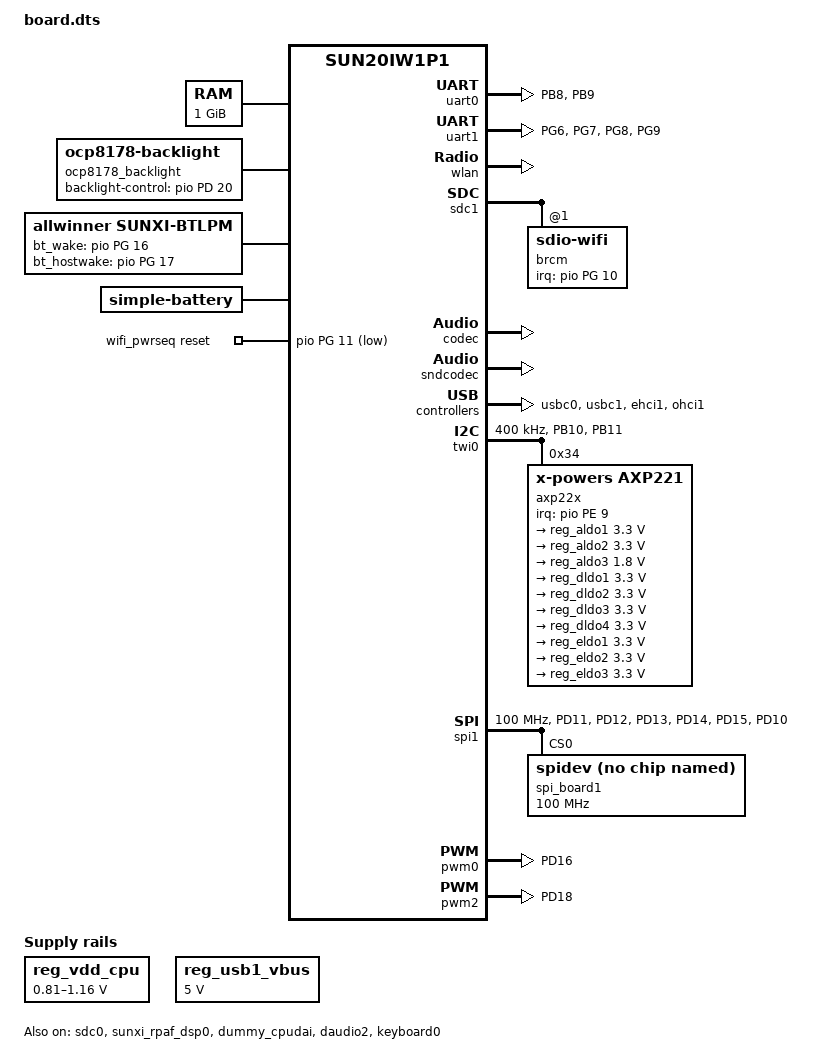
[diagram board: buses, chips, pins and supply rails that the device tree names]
/*
 * Allwinner Technology CO., Ltd. sun20iw1p1 fpga.
 *
 * fpga support.
 */

/dts-v1/;

#include "sun20iw1p1.dtsi"

/{
	compatible = "allwinner,d1", "arm,sun20iw1p1", "allwinner,sun20iw1p1";

	memory@40000000 {
		device_type = "memory";
		reg = <0x0 0x40000000 0x0 0x40000000>; /* 1 GB */
	};

	aliases {
		dsp0 = &dsp0;
		dsp0_gpio_int= &dsp0_gpio_int;
	};

	dsp0: dsp0 {
		compatible = "allwinner,sun20iw1-dsp";
		status = "okay";
	};

	dsp0_gpio_int: dsp0_gpio_int {
		compatible = "allwinner,sun20iw1-dsp-gpio-int";
		pin-group = "PB", "PC", "PD", "PE";
		status = "disabled";
	};

	reg_vdd_cpu: vdd-cpu {
		compatible = "sunxi-pwm-regulator";
		pwms = <&pwm 0 5000 0>;
		regulator-name = "vdd_cpu";
		regulator-min-microvolt = <810000>;
		regulator-max-microvolt = <1160000>;
		regulator-ramp-delay = <25>;
		regulator-always-on;
		regulator-boot-on;
		status = "okay";
	};

	reg_usb1_vbus: usb1-vbus {
		compatible = "regulator-fixed";
		regulator-name = "usb1-vbus";
		regulator-min-microvolt = <5000000>;
		regulator-max-microvolt = <5000000>;
		regulator-enable-ramp-delay = <1000>;
		/*gpio = <&pio PD 19 GPIO_ACTIVE_HIGH>;*/
		enable-active-high;
	};

	ocp8178_backlight: backlight@0 {
			compatible = "ocp8178-backlight";
			backlight-control-gpios = <&pio PD 20  GPIO_ACTIVE_HIGH>;
			default-brightness = <5>;
//			pinctrl-names = "default";
//			pinctrl-0 = <&backlight_control>;
	};
};

&CPU0 {
	cpu-supply = <&reg_vdd_cpu>;
};

&pio {
	sdc0_pins_a: sdc0@0 {
		allwinner,pins = "PF0", "PF1", "PF2",
				 "PF3", "PF4", "PF5";
		allwinner,function = "sdc0";
		allwinner,muxsel = <2>;
		allwinner,drive = <3>;
		allwinner,pull = <1>;
		pins = "PF0", "PF1", "PF2",
		       "PF3", "PF4", "PF5";
		function = "sdc0";
		drive-strength = <30>;
		bias-pull-up;
		power-source = <3300>;
	};


	sdc0_pins_b: sdc0@1 {
		pins = "PF0", "PF1", "PF2",
		       "PF3", "PF4", "PF5";
		function = "sdc0";
		drive-strength = <30>;
		bias-pull-up;
		power-source = <1800>;
	};

	sdc0_pins_c: sdc0@2 {
		pins = "PF0", "PF1", "PF2",
			"PF3", "PF4", "PF5";
		function = "gpio_in";
	};

	/* TODO: add jtag pin */
	sdc0_pins_d: sdc0@3 {
		pins = "PF2", "PF4";
		function = "uart0";
		drive-strength = <10>;
		bias-pull-up;
	};

	sdc0_pins_e: sdc0@4 {
		pins = "PF0", "PF1", "PF3",
			"PF5";
		function = "jtag";
		drive-strength = <10>;
		bias-pull-up;
	};


	sdc1_pins_a: sdc1@0 {
		pins = "PG0", "PG1", "PG2",
		       "PG3", "PG4", "PG5";
		function = "sdc1";
		drive-strength = <30>;
		bias-pull-up;
	};

	sdc1_pins_b: sdc1@1 {
		pins = "PG0", "PG1", "PG2",
		       "PG3", "PG4", "PG5";
			function = "gpio_in";
	};

	sdc2_pins_a: sdc2@0 {
		allwinner,pins = "PC2", "PC3", "PC4",
				 "PC5", "PC6", "PC7";
		allwinner,function = "sdc2";
		allwinner,muxsel = <3>;
		allwinner,drive = <3>;
		allwinner,pull = <1>;
		pins = "PC2", "PC3", "PC4",
			"PC5", "PC6", "PC7";
		function = "sdc2";
		drive-strength = <30>;
		bias-pull-up;
	};

	sdc2_pins_b: sdc2@1 {
		pins = "PC2", "PC3", "PC4",
		       "PC5", "PC6", "PC7";
		function = "gpio_in";
	};
	/*
	wlan_pins_a:wlan@0 {
		pins = "PG11";
		function = "clk_fanout1";
	};*/

	uart0_pins_a: uart0_pins@0 {  /* For nezha board */
		pins = "PB8", "PB9";
		function = "uart0";
		drive-strength = <10>;
		bias-pull-up;
	};

	uart0_pins_b: uart0_pins@1 {  /* For nezha board */
		pins = "PB8", "PB9";
		function = "gpio_in";
	};

	uart1_pins_a: uart1_pins@0 {  /* For EVB1 board */
		pins = "PG6", "PG7", "PG8", "PG9";
		function = "uart1";
		drive-strength = <10>;
		bias-pull-up;
	};

	uart1_pins_b: uart1_pins {  /* For EVB1 board */
		pins = "PG6", "PG7", "PG8", "PG9";
		function = "gpio_in";
	};

	uart2_pins_a: uart2_pins@0 {  /* For EVB1 board */
		pins = "PC0", "PC1";
		function = "uart2";
		drive-strength = <10>;
		bias-pull-up;
	};

	uart2_pins_b: uart2_pins@1 {  /* For EVB1 board */
		pins = "PC0", "PC1";
		function = "gpio_in";
	};

	uart3_pins_a: uart3_pins@0 {  /* For EVB1 board */
		pins = "PD10", "PD11";
		function = "uart3";
		muxsel = <5>;
		drive-strength = <10>;
		bias-pull-up;
	};

	twi0_pins_a: twi0@0 {
		pins = "PB10", "PB11";	/*sck sda*/
		function = "twi0";
		drive-strength = <10>;
	};

	twi0_pins_b: twi0@1 {
		pins = "PB10", "PB11";
		function = "gpio_in";
	};

	twi1_pins_a: twi1@0 {
		pins = "PB4", "PB5";
		function = "twi1";
		drive-strength = <10>;
	};

	twi1_pins_b: twi1@1 {
		pins = "PB4", "PB5";
		function = "gpio_in";
	};

	twi2_pins_a: twi2@0 {
		pins = "PB0", "PB1";
		function = "twi2";
		drive-strength = <10>;
	};

	twi2_pins_b: twi2@1 {
		pins = "PB0", "PB1";
		function = "gpio_in";
	};

	twi3_pins_a: twi3@0 {
		pins = "PB6", "PB7";
		function = "twi3";
		drive-strength = <10>;
	};

	twi3_pins_b: twi3@1 {
		pins = "PB6", "PB7";
		function = "gpio_in";
	};

	gmac_pins_a: gmac@0 {
		pins = "PE0", "PE1", "PE2", "PE3",
		       "PE4", "PE5", "PE6", "PE7",
		       "PE8", "PE9", "PE10", "PE11",
		       "PE12", "PE13", "PE14", "PE15";
		function = "gmac0";
		drive-strength = <10>;
	};

	gmac_pins_b: gmac@1 {
		pins = "PE0", "PE1", "PE2", "PE3",
		       "PE4", "PE5", "PE6", "PE7",
		       "PE8", "PE9", "PE10", "PE11",
		       "PE12", "PE13", "PE14", "PE15";
		function = "gpio_in";
	};

	dmic_pins_a: dmic@0 {
		/* DMIC_PIN: CLK, DATA0, DATA1, DATA2 */
		pins = "PE17", "PB11", "PB10", "PD17";
		function = "dmic";
		drive-strength = <20>;
		bias-disable;
	};

	dmic_pins_b: dmic@1 {
		pins = "PE17", "PB11", "PB10", "PD17";
		function = "io_disabled";
		drive-strength = <20>;
		bias-disable;
	};

	daudio0_pins_a: daudio0@0 {
		pins = "PE17", "PE16", "PE15", "PE14", "PE13";
		function = "i2s0";
		drive-strength = <20>;
		bias-disable;
	};

	daudio0_pins_b: daudio0_sleep@0 {
		pins = "PE17", "PE16", "PE15", "PE14", "PE13";
		function = "io_disabled";
		drive-strength = <20>;
		bias-disable;
	};

	daudio1_pins_a: daudio1@0 {
		pins = "PG11", "PG12", "PG13", "PG14", "PG15";
		function = "i2s1";
		drive-strength = <20>;
		bias-disable;
	};

	daudio1_pins_b: daudio1_sleep@0 {
		pins = "PG11", "PG12", "PG13", "PG14", "PG15";
		function = "io_disabled";
		drive-strength = <20>;
		bias-disable;
	};

	daudio2_pins_a: daudio2@0 {
		/* I2S_PIN: MCLK, BCLK, LRCK */
		pins = "PB7", "PB5", "PB6";
		function = "i2s2";
		drive-strength = <20>;
		bias-disable;
	};

	daudio2_pins_b: daudio2@1 {
		/* I2S_PIN: DOUT0 */
		pins = "PB4";
		function = "i2s2_dout";
		drive-strength = <20>;
		bias-disable;
	};

	daudio2_pins_c: daudio2@2 {
		/* I2S_PIN: DIN0 */
		pins = "PB3";
		function = "i2s2_din";
		drive-strength = <20>;
		bias-disable;
	};

	daudio2_pins_d: daudio2_sleep@0 {
		pins = "PB7", "PB5", "PB6", "PB4", "PB3";
		function = "io_disabled";
		drive-strength = <20>;
		bias-disable;
	};

	spdif_pins_a: spdif@0 {
		/* SPDIF_PIN: SPDIF_OUT */
		pins = "PB0";
		function = "spdif";
		drive-strength = <20>;
		bias-disable;
	};

	spdif_pins_b: spdif_sleep@0 {
		pins = "PB0";
		function = "io_disabled";
		drive-strength = <20>;
		bias-disable;
	};

	spi0_pins_a: spi0@0 {
		pins = "PC2", "PC4", "PC5","PC7", "PC6"; /*clk mosi miso hold wp*/
		function = "spi0";
		muxsel = <2>;
		drive-strength = <10>;
	};

	spi0_pins_b: spi0@1 {
		pins = "PC3", "PC7", "PC6";
		function = "spi0";
		muxsel = <2>;
		drive-strength = <10>;
		bias-pull-up;   /* only CS should be pulled up */
	};

	spi0_pins_c: spi0@2 {
		pins = "PC2", "PC3", "PC4", "PC5","PC6", "PC7";
		function = "gpio_in";
		muxsel = <0>;
		drive-strength = <10>;
	};

	spi1_pins_a: spi1@0 {
		pins = "PD11", "PD12", "PD13","PD14", "PD15"; /*clk mosi miso hold wp*/
		function = "spi1";
		drive-strength = <10>;
	};

	spi1_pins_b: spi1@1 {
		pins = "PD10";
		function = "spi1";
		drive-strength = <10>;
		bias-pull-up;   // only CS should be pulled up
	};

	spi1_pins_c: spi1@2 {
		pins = "PD10", "PD11", "PD12", "PD13","PD14", "PD15";
		function = "gpio_in";
		drive-strength = <10>;
	};

	ledc_pins_a: ledc@0 {
		pins = "PC0";
		function = "ledc";
		drive-strength = <10>;
	};

	ledc_pins_b: ledc@1 {
		pins = "PC0";
		function = "gpio_in";
	};

	pwm0_pin_a: pwm0@0 {
		pins = "PD16";
		function = "pwm0";
		drive-strength = <10>;
		bias-pull-up;
	};

	pwm0_pin_b: pwm0@1 {
		pins = "PD16";
		function = "gpio_in";
		bias-disable;
	};

	pwm2_pin_a: pwm2@0 {
		pins = "PD18";
		function = "pwm2";
		drive-strength = <10>;
		bias-pull-up;
	};

	pwm2_pin_b: pwm2@1 {
		pins = "PD18";
		function = "gpio_in";
	};

/*
	pwm7_pin_a: pwm7@0 {
		pins = "PD22";
		function = "pwm7";
		drive-strength = <10>;
		bias-pull-up;
	};

	pwm7_pin_b: pwm7@1 {
		pins = "PD22";
		function = "gpio_in";
	};
*/

	s_cir0_pins_a: s_cir@0 {
		pins = "PB12";
		function = "ir";
		drive-strength = <10>;
		bias-pull-up;
	};

	s_cir0_pins_b: s_cir@1 {
		pins = "PB12";
		function = "gpio_in";
	};

	ir1_pins_a: ir1@0 {
		pins = "PB0";
		function = "ir";
		drive-strength = <10>;
		bias-pull-up;
	};

	ir1_pins_b: ir1@1 {
		pins = "PB0";
		function = "gpio_in";
	};

	backlight_control: backlight_control@0 {
		pins = "PD20";
		function = "gpio_out";
	};

};

&uart0 {
	pinctrl-names = "default", "sleep";
	pinctrl-0 = <&uart0_pins_a>;
	pinctrl-1 = <&uart0_pins_b>;
	status = "okay";
};

&uart1 {
	pinctrl-names = "default", "sleep";
	pinctrl-0 = <&uart1_pins_a>;
	pinctrl-1 = <&uart1_pins_b>;
	status = "okay";
};

&uart2 {
	pinctrl-names = "default", "sleep";
	pinctrl-0 = <&uart2_pins_a>;
	pinctrl-1 = <&uart2_pins_b>;
	status = "disabled";
};

&uart3 {
	/*compatible = "allwinner,sun20iw1-dsp-uart";*/
	pinctrl-names = "default", "sleep";
	pinctrl-0 = <&uart3_pins_a>;
	pinctrl-1 = <&uart3_pins_a>;
	status = "disabled";
};

&soc {
	card0_boot_para@2 {
		/*
		 * Avoid dtc compiling warnings.
		 * @TODO: Developer should modify this to the actual value
		 */
		reg = <0x0 0x2 0x0 0x0>;
		device_type = "card0_boot_para";
		card_ctrl = <0x0>;
		card_high_speed = <0x1>;
		card_line = <0x4>;
		pinctrl-0 = <&sdc0_pins_a>;
	};

	card2_boot_para@3 {
		/*
		 * Avoid dtc compiling warnings.
		 * @TODO: Developer should modify this to the actual value
		 */
		reg = <0x0 0x3 0x0 0x0>;
		device_type = "card2_boot_para";
		card_ctrl = <0x2>;
		card_high_speed = <0x1>;
		card_line = <0x4>;
		pinctrl-0 = <&sdc2_pins_a>;
		/*pinctrl-0 = <&sdc0_pins_a>;*/
		/*sdc_ex_dly_used = <0x2>;*/
		sdc_io_1v8 = <0x1>;
		/*sdc_type = "tm4";*/
		sdc_tm4_hs200_max_freq = <150>;
		sdc_tm4_hs400_max_freq = <100>;
		sdc_ex_dly_used = <2>;
		/*sdc_tm4_win_th = <8>;*/
		/*sdc_dis_host_caps = <0x180>;*/
	};

	rfkill: rfkill@0 {
		compatible    = "allwinner,sunxi-rfkill";
		chip_en;
		power_en;
		status        = "okay";

		wlan: wlan@0 {
			compatible    = "allwinner,sunxi-wlan";
			/*pinctrl-0 = <&wlan_pins_a>;
			pinctrl-names = "default";
			clock-names = "32k-fanout1";
			clocks = <&ccu CLK_FANOUT1_OUT>;*/
			wlan_busnum    = <0x1>;
			/*wlan_regon    = <&pio PG 11 GPIO_ACTIVE_HIGH>;*/
			/*wlan_hostwake  = <&pio PG 10 GPIO_ACTIVE_HIGH>;*/
			/*wlan_power    = "VCC-3V3";*/
			/*wlan_power_vol = <3300000>;*/
			/*interrupt-parent = <&pio>;
			interrupts = < PG 10 IRQ_TYPE_LEVEL_HIGH>;*/
			wakeup-source;

		};

		bt: bt@0 {
			compatible    = "allwinner,sunxi-bt";
			/*pinctrl-0 = <&wlan_pins_a>;
			pinctrl-names = "default";
			clock-names = "32k-fanout1";
			clocks = <&ccu CLK_FANOUT1_OUT>;*/
			/*bt_power_num = <0x01>;*/
			/*bt_power      = "axp803-dldo1";*/
			/*bt_io_regulator = "axp803-dldo1";*/
			/*bt_io_vol = <3300000>;*/
			/*bt_power_vol = <330000>;*/
			bt_rst_n      = <&pio PG 18 GPIO_ACTIVE_LOW>;
			status        = "okay";
		};
	};

	btlpm: btlpm@0 {
		compatible  = "allwinner,sunxi-btlpm";
		uart_index  = <0x1>;
		bt_wake     = <&pio PG 16 GPIO_ACTIVE_HIGH>;
		bt_hostwake = <&pio PG 17 GPIO_ACTIVE_HIGH>;
		status      = "okay";
	};

	addr_mgt: addr_mgt@0 {
		compatible     = "allwinner,sunxi-addr_mgt";
		type_addr_wifi = <0x0>;
		type_addr_bt   = <0x0>;
		type_addr_eth  = <0x0>;
		status         = "okay";
	};
	
	battery: battery@0 {
    		compatible = "simple-battery";
    		constant-charge-current-max-microamp = <2100000>;
    		voltage-min-design-microvolt = <3300000>;
 	};

	wifi_pwrseq: wifi-pwrseq {
  		compatible = "mmc-pwrseq-simple";
  		clocks = <&rtc 1>;
  		clock-names = "ext_clock";
  		reset-gpios = <&pio PG 11 GPIO_ACTIVE_LOW>;
  		post-power-on-delay-ms = <200>;
 	};
};

&sdc2 {
	non-removable;
	bus-width = <4>;
	mmc-ddr-1_8v;
	mmc-hs200-1_8v;
	no-sdio;
	no-sd;
	ctl-spec-caps = <0x308>;
	cap-mmc-highspeed;
	sunxi-power-save-mode;
	sunxi-dis-signal-vol-sw;
	mmc-bootpart-noacc;
	max-frequency = <150000000>;
	/*vmmc-supply = <&reg_dcdc1>;*/
	/*emmc io vol 3.3v*/
	/*vqmmc-supply = <&reg_aldo1>;*/
	/*emmc io vol 1.8v*/
	/*vqmmc-supply = <&reg_eldo1>;*/
	status = "disabled";
};

&sdc0 {
	bus-width = <4>;
	cd-gpios = <&pio PF 6 (GPIO_PULL_UP)>;
	non-removable;
	/*broken-cd;*/
	cd-inverted;
	/*data3-detect;*/
	/*card-pwr-gpios = <&pio PH 14 1 1 2 0xffffffff>;*/
	cd-used-24M;
	cap-sd-highspeed;
	/*sd-uhs-sdr50;*/
	/*sd-uhs-ddr50;*/
	/*sd-uhs-sdr104;*/
	no-sdio;
	no-mmc;
	sunxi-power-save-mode;
	/*sunxi-dis-signal-vol-sw;*/
	max-frequency = <150000000>;
	ctl-spec-caps = <0x8>;
	/*vmmc-supply = <&reg_dcdc1>;*/
	/*vqmmc33sw-supply = <&reg_dcdc1>;*/
	/*vdmmc33sw-supply = <&reg_dcdc1>;*/
	/*vqmmc18sw-supply = <&reg_eldo1>;*/
	/*vdmmc18sw-supply = <&reg_eldo1>;*/
	status = "okay";
};

&sdc1 {
 	vmmc-supply = <&reg_dldo1>;
 	vqmmc-supply = <&reg_aldo3>;
 	mmc-pwrseq = <&wifi_pwrseq>;
	bus-width = <4>;
	no-mmc;
	no-sd;
	cap-sd-highspeed;
	/*sd-uhs-sdr12*/
	/*sd-uhs-sdr25;*/
	/*sd-uhs-sdr50;*/
	/*sd-uhs-ddr50;*/
	/*sd-uhs-sdr104;*/
	/*sunxi-power-save-mode;*/
	/*sunxi-dis-signal-vol-sw;*/
	cap-sdio-irq;
	keep-power-in-suspend;
	ignore-pm-notify;
	max-frequency = <150000000>;
	ctl-spec-caps = <0x8>;
	status = "okay";
	brcm: sdio-wifi@1 {
  		reg = <1>;
  		interrupt-parent = <&pio>;
  		interrupts = <PG 10 IRQ_TYPE_LEVEL_LOW>;
  		interrupt-names = "host-wake";
 	};
};


/*
tvd configuration
used                   (create device, 0: do not create device, 1: create device)
agc_auto_enable        (0: agc manual mode,agc_manual_value is valid; 1: agc auto mode)
agc_manual_value       (agc manual value, default value is 64)
cagc_enable            (cagc        0: disable, 1: enable)
fliter_used            (3d fliter   0: disable, 1: enable)
support two PMU power  (tvd_power0, tvd_power1)
support two GPIO power (tvd_gpio0, tvd_gpio1)
NOTICE: If tvd need pmu power or gpio power,params need be configured under [tvd]
tvd_sw                 (the switch of all tvd driver.)
tvd_interface          (0: cvbs, 1: ypbpr,)
tvd_format             (0:TVD_PL_YUV420 , 1: MB_YUV420, 2: TVD_PL_YUV422)
tvd_system             (0:ntsc, 1:pal)
tvd_row                (total row number in multi channel mode 1-2)
tvd_column             (total column number in multi channel mode 1-2)
tvd_channelx_en        (0:disable, 1~4:position in multi channel mode,In single channel
                       mode,mean enable)
tvd_row*tvd_column is the total tvd channel number to be used in multichannel mode
+--------------------+--------------------+
|                    |                    |
|                    |                    |
|         1          |         2          |
|                    |                    |
|                    |                    |
+--------------------+--------------------+
|                    |                    |
|                    |                    |
|         3          |         4          |
|                    |                    |
|                    |                    |
+--------------------+--------------------+
*/

&tvd {
	tvd_sw          = <1>;
	tvd_interface   = <0>;
	tvd_format      = <0>;
	tvd_system      = <1>;
	tvd_row         = <1>;
	tvd_column      = <1>;
	tvd_channel0_en = <1>;
	tvd_channel1_en = <0>;
	tvd_channel2_en = <0>;
	tvd_channel3_en = <0>;
	/*tvd_gpio0 = <&pio PD 22 GPIO_ACTIVE_HIGH>;*/
	/*tvd_gpio1 = <&pio PD 23 GPIO_ACTIVE_HIGH>;*/
	/*tvd_gpio2 = <&pio PD 24 GPIO_ACTIVE_HIGH>;*/
	/*	dc1sw-supply = <&reg_dc1sw>;*/
	/*	eldo3-supply = <&reg_eldo3>;*/
	/*tvd_power0      = "dc1sw"*/
	/*tvd_power1      = "eldo3"*/
};

&tvd0 {
	used                    = <1>;
	agc_auto_enable         = <1>;
	agc_manual_value        = <64>;
	cagc_enable             = <1>;
	fliter_used             = <1>;
};

/* Audio Driver modules */
&sunxi_rpaf_dsp0 {
	status = "okay";
};

/* if audiocodec is used, sdc0 and uart0 should be closed to enable PA. */
&codec {
	/* MIC and headphone gain setting */
	mic1gain 	= <0x13>;
	mic2gain 	= <0x13>;
	mic3gain 	= <0x13>;
	/* ADC/DAC DRC/HPF func enabled */
        /* 0x1:DAP_HP_EN; 0x2:DAP_SPK_EN; 0x3:DAP_HPSPK_EN */
	adcdrc_cfg 	= <0x0>;
	adchpf_cfg 	= <0x1>;
	dacdrc_cfg 	= <0x0>;
	dachpf_cfg 	= <0x0>;
	/* Volume about */
	digital_vol 	= <0x00>;
	lineout_vol 	= <0x1a>;
	headphonegain	= <0x03>;
	/* Pa enabled about */
	pa_level 	= <0x01>;
	pa_pwr_level 	= <0x01>;
	pa_msleep_time 	= <0x78>;
	gpio-spk	= <&pio PE 1 GPIO_ACTIVE_HIGH>;
	gpio-spk-pwr	= <&pio PB 2 GPIO_ACTIVE_HIGH>;
	/* regulator about */
	/* avcc-supply	= <&reg_aldo1>; */
	/* hpvcc-supply	= <&reg_eldo1>; */
	status = "okay";
};

&sndcodec {
	hp_detect_case	= <0x01>;
	jack_enable	= <0x01>;
	status = "okay";
};

&dummy_cpudai {
	/* CMA config about */
	playback_cma	= <128>;
	capture_cma	= <256>;
	status = "okay";
};

&dmic {
	pinctrl-names   = "default","sleep";
	pinctrl-0       = <&dmic_pins_a>;
	pinctrl-1       = <&dmic_pins_b>;
	status = "disabled";
};

&sounddmic {
	status = "disabled";
};

&dmic_codec {
	status = "disabled";
};

/*-----------------------------------------------------------------------------
 * pcm_lrck_period	16/32/64/128/256
 *			(set 0x20 for HDMI audio out)
 * slot_width_select	16bits/20bits/24bits/32bits
 *			(set 0x20 for HDMI audio out)
 * frametype		0 --> short frame = 1 clock width;
 *			1 --> long frame = 2 clock width;
 * tdm_config		0 --> pcm
 *			1 --> i2s
 *			(set 0x01 for HDMI audio out)
 * mclk_div		0 --> not output
 *			1/2/4/6/8/12/16/24/32/48/64/96/128/176/192
 *			(set mclk as external codec clk source, freq is pll_audio/mclk_div)
 * pinctrl_used		0 --> I2S/PCM use for internal (e.g. HDMI)
 *			1 --> I2S/PCM use for external audio
 * daudio_type:		0 --> external audio type
 *			1 --> HDMI audio type
 *---------------------------------------------------------------------------*/
&daudio0 {
	mclk_div 	= <0x01>;
	frametype 	= <0x00>;
	tdm_config 	= <0x01>;
	sign_extend 	= <0x00>;
	msb_lsb_first 	= <0x00>;
	pcm_lrck_period = <0x80>;
	slot_width_select = <0x20>;
	pinctrl-names   = "default", "sleep";
	pinctrl-0       = <&daudio0_pins_a>;
	pinctrl-1       = <&daudio0_pins_b>;
	pinctrl_used	= <0x0>;
	status = "disabled";
};

/*-----------------------------------------------------------------------------
 * simple-audio-card,name	name of sound card, e.g.
 *				"snddaudio0" --> use for external audio
 *				"sndhdmi" --> use for HDMI audio
 * sound-dai			"snd-soc-dummy" --> use for I2S
 *				"hdmiaudio" --> use for HDMI audio
 *				"ac108" --> use for external audio of ac108
 *---------------------------------------------------------------------------*/
&sounddaudio0 {
	/* simple-audio-card,format = "i2s"; */
	/* simple-audio-card,frame-master = <&daudio0_master>; */
	/* simple-audio-card,bitclock-master = <&daudio0_master>; */
	/* simple-audio-card,bitclock-inversion; */
	/* simple-audio-card,frame-inversion; */
	status = "disabled";
	daudio0_master: simple-audio-card,codec {
		/* sound-dai = <&ac108>; */
	};
};

&daudio1 {
	mclk_div 	= <0x01>;
	frametype 	= <0x00>;
	tdm_config 	= <0x01>;
	sign_extend 	= <0x00>;
	msb_lsb_first 	= <0x00>;
	pcm_lrck_period = <0x80>;
	slot_width_select = <0x20>;
	pinctrl-names   = "default", "sleep";
	pinctrl-0       = <&daudio1_pins_a>;
	pinctrl-1       = <&daudio1_pins_b>;
	pinctrl_used	= <0x0>;
	status = "disabled";
};

&sounddaudio1 {
	status = "disabled";
	daudio1_master: simple-audio-card,codec {
		/* sound-dai = <&ac108>; */
	};
};

&daudio2 {
	mclk_div 	= <0x00>;
	frametype 	= <0x00>;
	tdm_config 	= <0x01>;
	sign_extend 	= <0x00>;
	tx_data_mode 	= <0x00>;
	rx_data_mode 	= <0x00>;
	msb_lsb_first 	= <0x00>;
	pcm_lrck_period = <0x20>;
	slot_width_select = <0x20>;
	asrc_function_en  = <0x00>;
	pinctrl-names   = "default", "sleep";
	/*pinctrl-0       = <&daudio2_pins_a &daudio2_pins_b &daudio2_pins_c>;*/
	/*pinctrl-1       = <&daudio2_pins_d>;*/
	/* HDMI audio, no need pin */
	pinctrl-0;
	pinctrl-1;
	pinctrl_used	= <0x0>;
	daudio_type	= <0x1>;
	status = "okay";
};

/* if HDMI audio is used, daudio2 should be enable. */
&hdmiaudio {
//	status = "okay";
	status = "disabled";
};

&sounddaudio2 {
	status = "okay";
	simple-audio-card,name = "sndhdmi";
	daudio2_master: simple-audio-card,codec {
		sound-dai = <&hdmiaudio>;
	};
};

&spdif {
	pinctrl-names   = "default","sleep";
	pinctrl-0       = <&spdif_pins_a>;
	pinctrl-1       = <&spdif_pins_b>;
	status = "disabled";
};

&soundspdif {
	status = "disabled";
};

/*
 *usb_port_type: usb mode. 0-device, 1-host, 2-otg.
 *usb_detect_type: usb hotplug detect mode. 0-none, 1-vbus/id detect, 2-id/dpdm detect.
 *usb_detect_mode: 0-thread scan, 1-id gpio interrupt.
 *usb_id_gpio: gpio for id detect.
 *usb_det_vbus_gpio: gpio for id detect. gpio or "axp_ctrl";
 *usb_wakeup_suspend：0-SUPER_STANDBY, 1-USB_STANDBY.
 */
&usbc0 {
	device_type = "usbc0";
	usb_port_type = <0x0>;
	usb_detect_type = <0x1>;
	usb_detect_mode = <0>;
	usb_id_gpio = <&pio PD 21 GPIO_ACTIVE_HIGH>;
	enable-active-high;
	/*usb_det_vbus_gpio = <&pio PD 20 GPIO_ACTIVE_HIGH>;*/
	usb_wakeup_suspend = <0>;
	usb_serial_unique = <0>;
	usb_serial_number = "20080411";
	rndis_wceis = <1>;
	status = "okay";
};

&ehci0 {
	drvvbus-supply = <&reg_usb1_vbus>;
};

&ohci0 {
	drvvbus-supply = <&reg_usb1_vbus>;
};

&usbc1 {
	device_type = "usbc1";
	usb_regulator_io = "nocare";
	usb_wakeup_suspend = <0>;
	status = "okay";
};

&ehci1 {
	status = "okay";
};

&ohci1 {
	status = "okay";
};

&twi0 {
	clock-frequency = <400000>;
	pinctrl-0 = <&twi0_pins_a>;
	pinctrl-1 = <&twi0_pins_b>;
	pinctrl-names = "default", "sleep";
	status = "okay";

axp22x: pmic@34 {
  interrupt-controller;
  #interrupt-cells = <1>;
  compatible = "x-powers,axp221";
  reg = <0x34>;
  interrupt-parent = <&pio>;
  interrupts = <PE 9 IRQ_TYPE_LEVEL_LOW>;

  regulators {

   x-powers,dcdc-freq = <3000>;

   reg_aldo1: aldo1 {
    regulator-always-on;
    regulator-min-microvolt = <3300000>;
    regulator-max-microvolt = <3300000>;
    regulator-name = "audio-vdd";
   };

   reg_aldo2: aldo2 {
    regulator-always-on;
    regulator-min-microvolt = <3300000>;
    regulator-max-microvolt = <3300000>;
    regulator-name = "display-vcc";
   };

   reg_aldo3: aldo3 {
    regulator-always-on;
    regulator-min-microvolt = <1800000>;
    regulator-max-microvolt = <1800000>;
    regulator-name = "wifi-vdd";
   };

   reg_dldo1: dldo1 {
    regulator-always-on;
    regulator-min-microvolt = <3300000>;
    regulator-max-microvolt = <3300000>;
    regulator-name = "wifi-vcc1";
   };

   reg_dldo2: dldo2 {
    regulator-always-on;
    regulator-min-microvolt = <3300000>;
    regulator-max-microvolt = <3300000>;
    regulator-name = "dldo2";
   };

   reg_dldo3: dldo3 {
    regulator-always-on;
    regulator-min-microvolt = <3300000>;
    regulator-max-microvolt = <3300000>;
    regulator-name = "dldo3";
   };

   reg_dldo4: dldo4 {
    regulator-always-on;
    regulator-min-microvolt = <3300000>;
    regulator-max-microvolt = <3300000>;
    regulator-name = "dldo4";
   };

   reg_eldo1: eldo1 {
    regulator-always-on;
    regulator-min-microvolt = <3300000>;
    regulator-max-microvolt = <3300000>;
    regulator-name = "wifi-vcc2";
   };

   reg_eldo2: eldo2 {
    regulator-always-on;
    regulator-min-microvolt = <3300000>;
    regulator-max-microvolt = <3300000>;
    regulator-name = "wifi-vcc3";
   };

   reg_eldo3: eldo3 {
    regulator-always-on;
    regulator-min-microvolt = <3300000>;
    regulator-max-microvolt = <3300000>;
    regulator-name = "wifi-vcc4";
   };

  };

  battery_power_supply: battery-power-supply {
   compatible = "x-powers,axp221-battery-power-supply";
   monitored-battery = <&battery>;
  };

  ac_power_supply: ac_power_supply {
   compatible = "x-powers,axp221-ac-power-supply";
  };
 }; 
};

&twi1 {
	clock-frequency = <400000>;
	pinctrl-0 = <&twi1_pins_a>;
	pinctrl-1 = <&twi1_pins_b>;
	pinctrl-names = "default", "sleep";
	status = "disabled";
};

&twi2 {
	clock-frequency = <400000>;
	pinctrl-0 = <&twi2_pins_a>;
	pinctrl-1 = <&twi2_pins_b>;
	pinctrl-names = "default", "sleep";
	dmas = <&dma 45>, <&dma 45>;
	dma-names = "tx", "rx";
	status = "disabled";

	/* pcf8574-usage:
	 * only use gpio0~7, 0 means PP0.
	 * pin set:
	 * gpios = <&pcf8574 0 GPIO_ACTIVE_LOW>;
	 * interrupt set:
	 * interrupt-parent = <&pcf8574>;
	 * interrupts = <0 IRQ_TYPE_EDGE_FALLING>;
	 */
	pcf8574: gpio@38 {
		compatible = "nxp,pcf8574";
		reg = <0x38>;
		gpio_base = <2020>;
		gpio-controller;
		#gpio-cells = <2>;
		interrupt-controller;
		#interrupt-cells = <2>;
		interrupt-parent = <&pio>;
		interrupts = <PB 2 IRQ_TYPE_EDGE_FALLING>;
		status = "disabled";
	};

	ctp@14 {
		compatible = "allwinner,goodix";
		device_type = "ctp";
		reg = <0x14>;
		status = "disabled";
		ctp_name = "gt9xxnew_ts";
		ctp_twi_id = <0x2>;
		ctp_twi_addr = <0x14>;
		ctp_screen_max_x = <0x320>;
		ctp_screen_max_y = <0x500>;
		ctp_revert_x_flag = <0x0>;
		ctp_revert_y_flag = <0x0>;
		ctp_exchange_x_y_flag = <0x0>;
		ctp_int_port = <&pio PG 14 GPIO_ACTIVE_HIGH>;
		ctp_wakeup = <&pio PG 15 GPIO_ACTIVE_HIGH>;
	};
};

&twi3 {
	clock-frequency = <400000>;
	pinctrl-0 = <&twi3_pins_a>;
	pinctrl-1 = <&twi3_pins_b>;
	pinctrl-names = "default", "sleep";
	status = "disabled";
};

&gmac0 {
	phy-mode = "rgmii";
	use_ephy25m = <1>;
	pinctrl-0 = <&gmac_pins_a>;
	pinctrl-1 = <&gmac_pins_b>;
	pinctrl-names = "default", "sleep";
	phy-rst = <&pio PE 16 GPIO_ACTIVE_HIGH>;
	tx-delay = <3>; /*2~4*/
	rx-delay = <0>;
	status = "disabled";
};

&spi0 {
	clock-frequency = <100000000>;
	pinctrl-0 = <&spi0_pins_a &spi0_pins_b>;
	pinctrl-1 = <&spi0_pins_c>;
	pinctrl-names = "default", "sleep";
	/*spi-supply = <&reg_dcdc1>;*/
	spi_slave_mode = <0>;
	spi0_cs_number = <1>;
        spi0_cs_bitmap = <1>;
	status = "disabled";

	spi-nand@0 {
		compatible = "spi-nand";
		spi-max-frequency=<0x5F5E100>;
		reg = <0x0>;
		spi-rx-bus-width=<0x04>;
		spi-tx-bus-width=<0x04>;
		status="disabled";
	};
};

&spi1 {
	clock-frequency = <100000000>;
	pinctrl-0 = <&spi1_pins_a &spi1_pins_b>;
	pinctrl-1 = <&spi1_pins_c>;
	pinctrl-names = "default", "sleep";
	spi_slave_mode = <0>;
	status = "okay";

	spi_board1@0 {
		device_type = "spi_board1";
		compatible = "rohm,dh2228fv";
		spi-max-frequency = <0x5f5e100>;
		reg = <0x0>;
		spi-rx-bus-width = <0x4>;
		spi-tx-bus-width = <0x4>;
		status = "okay";
	};
};

&ledc {
	pinctrl-names = "default", "sleep";
	pinctrl-0 = <&ledc_pins_a>;
	pinctrl-1 = <&ledc_pins_b>;
	led_count = <12>;
	output_mode = "GRB";
	reset_ns = <84>;
	t1h_ns = <800>;
	t1l_ns = <320>;
	t0h_ns = <300>;
	t0l_ns = <800>;
	wait_time0_ns = <84>;
	wait_time1_ns = <84>;
	wait_data_time_ns = <600000>;
	status	= "disabled";
};

&keyboard0 {
	key0 = <210 0x160>;
	wakeup-source;
	status = "okay";
};

/*----------------------------------------------------------------------------------
disp init configuration

disp_mode             (0:screen0<screen0,fb0>)
screenx_output_type   (0:none; 1:lcd; 2:tv; 3:hdmi;5:vdpo)
screenx_output_mode   (used for hdmi output, 0:480i 1:576i 2:480p 3:576p 4:720p50)
                      (5:720p60 6:1080i50 7:1080i60 8:1080p24 9:1080p50 10:1080p60)
screenx_output_format (for hdmi, 0:RGB 1:yuv444 2:yuv422 3:yuv420)
screenx_output_bits   (for hdmi, 0:8bit 1:10bit 2:12bit 2:16bit)
screenx_output_eotf   (for hdmi, 0:reserve 4:SDR 16:HDR10 18:HLG)
screenx_output_cs     (for hdmi, 0:undefined  257:BT709 260:BT601  263:BT2020)
screenx_output_dvi_hdmi (for hdmi, 0:undefined 1:dvi mode 2:hdmi mode)
screen0_output_range   (for hdmi, 0:default 1:full 2:limited)
screen0_output_scan    (for hdmi, 0:no data 1:overscan 2:underscan)
screen0_output_aspect_ratio  (for hdmi, 8-same as original picture 9-4:3 10-16:9 11-14:9)
fbx format            (4:RGB655 5:RGB565 6:RGB556 7:ARGB1555 8:RGBA5551 9:RGB888 10:ARGB8888 12:ARGB4444)
fbx pixel sequence    (0:ARGB 1:BGRA 2:ABGR 3:RGBA)
fb0_scaler_mode_enable(scaler mode enable, used FE)
fbx_width,fbx_height  (framebuffer horizontal/vertical pixels, fix to output resolution while equal 0)
lcdx_backlight        (lcd init backlight,the range:[0,256],default:197
lcdx_yy               (lcd init screen bright/contrast/saturation/hue, value:0~100, default:50/50/57/50)
lcd0_contrast         (LCD contrast, 0~100)
lcd0_saturation       (LCD saturation, 0~100)
lcd0_hue              (LCD hue, 0~100)
framebuffer software rotation setting:
disp_rotation_used:   (0:disable; 1:enable,you must set fbX_width to lcd_y,
set fbX_height to lcd_x)
degreeX:              (X:screen index; 0:0 degree; 1:90 degree; 3:270 degree)
degreeX_Y:            (X:screen index; Y:layer index 0~15; 0:0 degree; 1:90 degree; 3:270 degree)
devX_output_type : config output type in bootGUI framework in UBOOT-2018.
				   (0:none; 1:lcd; 2:tv; 4:hdmi;)
devX_output_mode : config output resolution(see include/video/sunxi_display2.h) of bootGUI framework in UBOOT-2018
devX_screen_id   : config display index of bootGUI framework in UBOOT-2018
devX_do_hpd      : whether do hpd detectation or not in UBOOT-2018
chn_cfg_mode     : Hardware DE channel allocation config. 0:single display with 6
				   channel, 1:dual display with 4 channel in main display and 2 channel in second
                   display, 2:dual display with 3 channel in main display and 3 channel in second
                   in display.
----------------------------------------------------------------------------------*/
&disp {
	disp_init_enable         = <1>;
	disp_mode                = <0>;

	screen0_output_type      = <1>;
	screen0_output_mode      = <4>;

	screen1_output_type      = <3>;
	screen1_output_mode      = <10>;

	screen1_output_format    = <0>;
	screen1_output_bits      = <0>;
	screen1_output_eotf      = <4>;
	screen1_output_cs        = <257>;
	screen1_output_dvi_hdmi  = <2>;
	screen1_output_range     = <2>;
	screen1_output_scan      = <0>;
	screen1_output_aspect_ratio = <8>;

	dev0_output_type         = <1>;
	dev0_output_mode         = <4>;
	dev0_screen_id           = <0>;
	dev0_do_hpd              = <0>;

	dev1_output_type         = <4>;
	dev1_output_mode         = <10>;
	dev1_screen_id           = <1>;
	dev1_do_hpd              = <1>;

	def_output_dev           = <0>;
	hdmi_mode_check          = <1>;

	fb0_format               = <0>;
	fb0_width                = <0>;
	fb0_height               = <0>;

	fb1_format               = <0>;
	fb1_width                = <0>;
	fb1_height               = <0>;
	chn_cfg_mode             = <1>;

	disp_para_zone           = <1>;
	/*VCC-LCD*/
/*	dc1sw-supply = <&reg_dc1sw>;*/
	/*VCC-DSI*/
/*	eldo3-supply = <&reg_eldo3>;*/
	/*VCC-PD*/
/*	dcdc1-supply = <&reg_dcdc1>;*/
};

/*----------------------------------------------------------------------------------
;lcd0 configuration

;lcd_if:               0:hv(sync+de); 1:8080; 2:ttl; 3:lvds; 4:dsi; 5:edp; 6:extend dsi
;lcd_hv_if             0:Parallel RGB; 8:Serial RGB; 10:Dummy RGB; 11: RGB Dummy;12:CCIR656
;lcd_hv_clk_phase      0:0 degree;1:90 degree;2:180 degree;3:270 degree
;lcd_hv_sync_polarity  0:vs low,hs low; 1:vs high,hslow; 2:vs low,hs high; 3:vs high,hs high
;lcd_hv_syuv_seq       0:YUYV; 1:YVYU; 2:UYVY; 3:VYUY
;lcd_cpu_if            0:18bit/1 cycle parallel(RGB666); 4:16bit/1cycle parallel (RGB565)
;                      6:18bit/3 cycle parallel(RGB666); 7:16bit/2cycle parallel (RGB565)
;lcd_cpu_te            0:frame auto trigger; 1:frame triggered by te rising edge; 2:frame triggered by te falling edge;
;lcd_dsi_if            0:video mode; 1: Command mode; 2:video burst mode
;lcd_dsi_te            0:frame auto trigger; 1:frame triggered by te rising edge; 2:frame triggered by te falling edge;
;lcd_x:                lcd horizontal resolution
;lcd_y:                lcd vertical resolution
;lcd_width:            width of lcd in mm
;lcd_height:           height of lcd in mm
;lcd_dclk_freq:        in MHZ unit
;lcd_pwm_freq:         in HZ unit
;lcd_pwm_pol:          lcd backlight PWM polarity
;lcd_pwm_max_limit     lcd backlight PWM max limit(<=255)
;lcd_hbp:              hsync back porch(pixel) + hsync plus width(pixel);
;lcd_ht:               hsync total cycle(pixel)
;lcd_vbp:              vsync back porch(line) + vysnc plus width(line)
;lcd_vt:               vysnc total cycle(line)
;lcd_hspw:             hsync plus width(pixel)
;lcd_vspw:             vysnc plus width(pixel)
;lcd_lvds_if:          0:single link;  1:dual link
;lcd_lvds_colordepth:  0:8bit; 1:6bit
;lcd_lvds_mode:        0:NS mode; 1:JEIDA mode
;lcd_frm:              0:disable; 1:enable rgb666 dither; 2:enable rgb656 dither
;lcd_io_phase:         0:noraml; 1:intert phase(0~3bit: vsync phase; 4~7bit:hsync phase;
;                      8~11bit:dclk phase; 12~15bit:de phase)
;lcd_gamma_en          lcd gamma correction enable
;lcd_bright_curve_en   lcd bright curve correction enable
;lcd_cmap_en           lcd color map function enable
;deu_mode              0:smoll lcd screen; 1:large lcd screen(larger than 10inch)
;lcdgamma4iep:         Smart Backlight parameter, lcd gamma vale * 10;
;                      decrease it while lcd is not bright enough; increase while lcd is too bright
;smart_color           90:normal lcd screen 65:retina lcd screen(9.7inch)
;Pin setting for special function ie.LVDS, RGB data or vsync
;   name(donot care) = port:PD12<pin function><pull up or pull down><drive ability><output level>
;Pin setting for gpio:
;   lcd_gpio_X     = port:PD12<pin function><pull up or pull down><drive ability><output level>
;Pin setting for backlight enable pin
;   lcd_bl_en     = port:PD12<pin function><pull up or pull down><drive ability><output level>
;fsync setting, pulse to csi
;lcd_fsync_en          (0:disable fsync,1:enable)
;lcd_fsync_act_time    (active time of fsync, unit:pixel)
;lcd_fsync_dis_time    (disactive time of fsync, unit:pixel)
;lcd_fsync_pol         (0:positive;1:negative)
;gpio config: <&pio for cpu or &r_pio for cpus, port, port num, pio function,
pull up or pull down(default 0), driver level(default 1), data>
;For dual link lvds: use lvds2link_pins_a  and lvds2link_pins_b instead
;For rgb24: use rgb24_pins_a  and rgb24_pins_b instead
;For lvds1: use lvds1_pins_a  and lvds1_pins_b instead
;For lvds0: use lvds0_pins_a  and lvds0_pins_b instead
;----------------------------------------------------------------------------------*/
&lcd0 {
	lcd_used            = <1>;

	lcd_driver_name     = "icn9707_480x1280";
	lcd_backlight       = <50>;
	lcd_if              = <4>;

	lcd_x               = <480>;
	lcd_y               = <1280>;
	lcd_width           = <60>;
	lcd_height          = <160>;
	lcd_dclk_freq       = <55>;

	lcd_pwm_used        = <1>;
	lcd_pwm_ch          = <2>;
	lcd_pwm_freq        = <1000>;
	lcd_pwm_pol         = <0>;
	lcd_pwm_max_limit   = <255>;

	lcd_hbp             = <150>;
	lcd_ht              = <694>;
	lcd_hspw            = <40>;
	lcd_vbp             = <12>;
	lcd_vt              = <1308>;
	lcd_vspw            = <10>;

	lcd_dsi_if          = <0>;
	lcd_dsi_lane        = <4>;
	lcd_lvds_if         = <0>;
	lcd_lvds_colordepth = <0>;
	lcd_lvds_mode       = <0>;
	lcd_frm             = <0>;
	lcd_hv_clk_phase    = <0>;
	lcd_hv_sync_polarity= <0>;
	lcd_io_phase        = <0x0000>;
	lcd_gamma_en        = <0>;
	lcd_bright_curve_en = <0>;
	lcd_cmap_en         = <0>;
	lcd_fsync_en        = <0>;
	lcd_fsync_act_time  = <1000>;
	lcd_fsync_dis_time  = <1000>;
	lcd_fsync_pol       = <0>;

	deu_mode            = <0>;
	lcdgamma4iep        = <22>;
	smart_color         = <90>;
	
	lcd_gpio_0 =  <&pio PD 19 GPIO_ACTIVE_HIGH>;
//	lcd_gpio_1 = <&pio PD 20 GPIO_ACTIVE_HIGH>;
	pinctrl-0 = <&dsi4lane_pins_a>;
	pinctrl-1 = <&dsi4lane_pins_b>;
};

&hdmi {
	hdmi_used = <1>;
	hdmi_power_cnt = <0>;
	hdmi_cts_compatibility = <1>;
	hdmi_hdcp_enable = <1>;
	hdmi_hdcp22_enable = <0>;
	hdmi_cec_support = <1>;
	hdmi_cec_super_standby = <0>;

	ddc_en_io_ctrl = <0>;
	power_io_ctrl = <0>;
	status = "disabled";
};

&pwm0 {
	pinctrl-names = "active", "sleep";
	pinctrl-0 = <&pwm0_pin_a>;
	pinctrl-1 = <&pwm0_pin_b>;
	status = "okay";
};

&pwm2 {
	pinctrl-names = "active", "sleep";
	pinctrl-0 = <&pwm2_pin_a>;
	pinctrl-1 = <&pwm2_pin_b>;
	status = "okay";
};
/*
&pwm7 {
	pinctrl-names = "active", "sleep";
	pinctrl-0 = <&pwm7_pin_a>;
	pinctrl-1 = <&pwm7_pin_b>;
	status = "okay";
};
*/

&rtp {
	allwinner,tp-sensitive-adjust = <0xf>;
	allwinner,filter-type = <0x1>;
	allwinner,ts-attached;
	status = "disabled";
};

&gpadc {
	channel_num = <2>;
	channel_select = <3>;
	channel_data_select = <3>;
	channel_compare_select = <3>;
	channel_cld_select = <3>;
	channel_chd_select = <3>;
	channel0_compare_lowdata = <1700000>;
	channel0_compare_higdata = <1200000>;
	channel1_compare_lowdata = <460000>;
	channel1_compare_higdata = <1200000>;
	status = "disabled";
};

&s_cir0 {
	pinctrl-names = "default", "sleep";
	pinctrl-0 = <&s_cir0_pins_a>;
	pinctrl-1 = <&s_cir0_pins_b>;
	status = "disabled";
};

&ir1 {
	pinctrl-names = "default", "sleep";
	pinctrl-0 = <&ir1_pins_a>;
	pinctrl-1 = <&ir1_pins_b>;
	status = "disabled";
};
